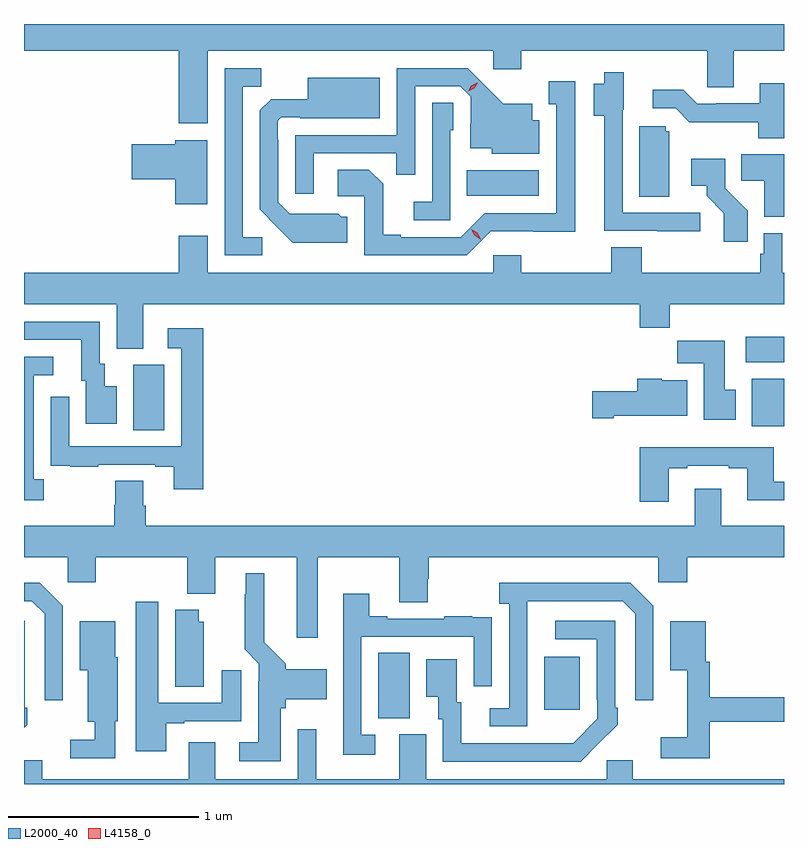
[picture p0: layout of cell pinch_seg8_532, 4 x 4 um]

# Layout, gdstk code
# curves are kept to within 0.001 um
import gdstk
lib = gdstk.Library(unit=1e-6, precision=1e-09)
def R(c, l, rs):  # rectangles x0, y0, x1, y1
    for r in rs: c.add(gdstk.rectangle(r[:2], r[2:], *l))
def P(c, l, *ps):  # polygons
    for p in ps: c.add(gdstk.Polygon(p, *l))
L2000_40 = (2000, 40)
L4158_0 = (4158, 0)

pinch_seg8_532 = lib.new_cell('pinch_seg8_532')
R(pinch_seg8_532, L2000_40, [(148.448,1118.317,148.612,1118.66), (149.321,1118.361,149.509,1118.641), (147.158,1119.832,147.322,1120.176), (150.413,1119.852,150.583,1120.102), (150.381,1120.19,150.583,1120.324), (148.912,1121.066,149.293,1121.2)])
P(pinch_seg8_532, L2000_40, [(147.55,1121.828),(149.052,1121.828),(149.052,1121.733),(149.199,1121.733),(149.199,1121.828),(150.18,1121.828),(150.18,1121.638),(150.319,1121.638),(150.319,1121.828),(150.583,1121.828),(150.583,1121.97),(146.583,1121.97),(146.583,1121.828),(147.398,1121.828),(147.398,1121.448),(147.55,1121.448)],
  [(148.107,1121.289),(148.543,1121.289),(148.543,1121.176),(148.641,1121.176),(148.641,1121.643),(148.878,1121.643),(148.935,1121.586),(148.935,1121.444),(148.931,1121.444),(148.931,1121.315),(149.046,1121.315),(149.046,1121.288),(149.296,1121.288),(149.296,1121.464),(149.257,1121.464),(149.257,1121.551),(149.105,1121.551),(148.918,1121.736),(148.545,1121.736),(148.545,1121.385),(148.011,1121.385),(148.011,1121.076),(148.107,1121.076)],
  [(147.838,1120.848),(147.735,1120.848),(147.735,1121.641),(147.831,1121.641),(147.831,1121.736),(147.639,1121.736),(147.639,1120.752),(147.838,1120.752)],
  [(150.142,1120.977),(149.733,1120.977),(149.733,1121.52),(149.74,1121.52),(149.74,1121.716),(149.636,1121.716),(149.636,1121.656),(149.582,1121.656),(149.582,1121.486),(149.636,1121.486),(149.636,1120.881),(149.917,1120.881),(149.917,1120.879),(150.142,1120.879)],
  [(148.285,1120.956),(148.254,1120.956),(148.238,1120.972),(147.981,1120.971),(147.921,1121.031),(147.921,1121.36),(147.918,1121.36),(147.918,1121.46),(147.936,1121.478),(148.036,1121.478),(148.036,1121.474),(148.456,1121.474),(148.456,1121.686),(148.076,1121.686),(148.076,1121.575),(147.884,1121.575),(147.825,1121.516),(147.825,1120.994),(147.997,1120.82),(148.285,1120.82)],
  [(149.04,1120.878),(149.485,1120.877),(149.485,1121.668),(149.345,1121.668),(149.345,1121.547),(149.384,1121.547),(149.384,1120.974),(149.007,1120.974),(148.881,1120.848),(148.567,1120.848),(148.567,1120.861),(148.473,1120.861),(148.473,1121.128),(148.397,1121.204),(148.233,1121.204),(148.233,1121.064),(148.374,1121.064),(148.374,1120.752),(148.914,1120.752)],
  [(150.583,1121.659),(150.455,1121.659),(150.455,1121.553),(150.226,1121.553),(150.226,1121.55),(150.126,1121.55),(150.053,1121.623),(149.892,1121.623),(149.892,1121.526),(150.012,1121.526),(150.085,1121.453),(150.448,1121.454),(150.448,1121.369),(150.583,1121.369)],
  [(148.827,1121.412),(148.842,1121.412),(148.842,1121.555),(148.731,1121.555),(148.731,1121.035),(148.635,1121.035),(148.635,1120.938),(148.827,1120.938)],
  [(149.98,1121.406),(149.961,1121.406),(149.961,1121.433),(149.822,1121.433),(149.822,1121.062),(149.98,1121.062)],
  [(147.547,1121.359),(147.38,1121.359),(147.38,1121.336),(147.15,1121.336),(147.15,1121.153),(147.38,1121.153),(147.38,1121.022),(147.547,1121.022)],
  [(150.583,1121.284),(150.358,1121.284),(150.358,1121.146),(150.479,1121.146),(150.479,1120.955),(150.583,1120.955)],
  [(150.392,1120.986),(150.273,1121.105),(150.273,1121.26),(150.096,1121.26),(150.096,1121.12),(150.176,1121.12),(150.176,1121.065),(150.267,1120.975),(150.267,1120.824),(150.392,1120.824)],
  [(147.211,1120.496),(149.825,1120.496),(149.825,1120.372),(149.981,1120.372),(149.981,1120.496),(150.583,1120.496),(150.583,1120.66),(150.573,1120.66),(150.573,1120.87),(150.477,1120.87),(150.477,1120.761),(150.457,1120.761),(150.457,1120.66),(149.834,1120.66),(149.834,1120.796),(149.674,1120.796),(149.674,1120.66),(149.199,1120.66),(149.199,1120.753),(149.052,1120.753),(149.052,1120.66),(147.55,1120.66),(147.55,1120.855),(147.398,1120.855),(147.398,1120.66),(146.583,1120.66),(146.583,1120.496),(147.071,1120.496),(147.071,1120.261),(147.211,1120.261)],
  [(147.07,1120.063),(147.007,1120.063),(147.007,1120.182),(146.982,1120.182),(146.982,1120.404),(146.583,1120.404),(146.583,1120.308),(146.885,1120.308),(146.885,1120.092),(146.909,1120.092),(146.909,1119.867),(147.07,1119.867)],
  [(147.527,1120.369),(147.339,1120.369),(147.339,1120.263),(147.411,1120.263),(147.411,1119.747),(146.82,1119.747),(146.82,1120.009),(146.724,1120.009),(146.724,1119.754),(146.725,1119.754),(146.725,1119.645),(146.827,1119.645),(146.827,1119.639),(146.975,1119.639),(146.975,1119.651),(147.275,1119.651),(147.275,1119.639),(147.371,1119.639),(147.371,1119.522),(147.527,1119.522)],
  [(150.328,1120.044),(150.271,1120.044),(150.271,1120.303),(150.022,1120.303),(150.022,1120.184),(150.161,1120.184),(150.161,1119.888),(150.328,1119.888)],
  [(146.686,1119.574),(146.634,1119.574),(146.634,1120.122),(146.737,1120.122),(146.737,1120.218),(146.583,1120.218),(146.583,1119.464),(146.686,1119.464)],
  [(149.686,1119.908),(150.073,1119.908),(150.073,1120.096),(149.94,1120.096),(149.94,1120.102),(149.81,1120.102),(149.81,1120.038),(149.574,1120.038),(149.574,1119.896),(149.686,1119.896)],
  [(149.977,1119.633),(150.073,1119.633),(150.073,1119.645),(150.293,1119.645),(150.293,1119.633),(150.389,1119.633),(150.389,1119.464),(150.583,1119.464),(150.583,1119.561),(150.529,1119.561),(150.529,1119.742),(149.825,1119.742),(149.825,1119.456),(149.977,1119.456)],
  [(148.129,1119.164),(148.559,1119.164),(148.559,1118.926),(148.707,1118.926),(148.707,1119.051),(148.712,1119.051),(148.712,1119.164),(149.922,1119.164),(149.922,1119.033),(150.074,1119.033),(150.074,1119.164),(150.583,1119.164),(150.583,1119.328),(150.253,1119.328),(150.253,1119.523),(150.113,1119.523),(150.113,1119.328),(147.224,1119.328),(147.224,1119.434),(147.211,1119.434),(147.211,1119.566),(147.064,1119.566),(147.064,1119.441),(147.059,1119.441),(147.059,1119.328),(146.583,1119.328),(146.583,1119.164),(146.814,1119.164),(146.814,1119.033),(146.961,1119.033),(146.961,1119.164),(147.442,1119.164),(147.442,1118.972),(147.589,1118.972),(147.589,1119.164),(148.019,1119.164),(148.019,1118.739),(148.129,1118.739)],
  [(147.934,1118.37),(147.96,1118.37),(147.96,1118.417),(148.177,1118.417),(148.177,1118.575),(147.96,1118.575),(147.96,1118.603),(147.847,1118.716),(147.847,1119.079),(147.749,1119.079),(147.749,1118.969),(147.745,1118.969),(147.745,1118.678),(147.819,1118.604),(147.819,1118.51),(147.815,1118.51),(147.815,1118.191),(147.717,1118.191),(147.717,1118.09),(147.934,1118.09)],
  [(149.232,1118.931),(149.733,1118.931),(149.799,1118.865),(149.799,1118.412),(149.895,1118.412),(149.895,1118.907),(149.774,1119.028),(149.085,1119.028),(149.085,1118.918),(149.136,1118.918),(149.136,1118.37),(149.034,1118.37),(149.034,1118.274),(149.232,1118.274)],
  [(146.787,1118.907),(146.666,1119.028),(146.583,1119.028),(146.583,1118.931),(146.625,1118.931),(146.691,1118.865),(146.691,1118.412),(146.787,1118.412)],
  [(148.432,1118.229),(148.359,1118.229),(148.359,1118.745),(148.95,1118.745),(148.95,1118.484),(149.046,1118.484),(149.046,1118.738),(149.045,1118.738),(149.045,1118.847),(148.943,1118.847),(148.943,1118.854),(148.795,1118.854),(148.795,1118.841),(148.495,1118.841),(148.495,1118.854),(148.399,1118.854),(148.399,1118.971),(148.262,1118.971),(148.262,1118.748),(148.263,1118.748),(148.263,1118.124),(148.432,1118.124)],
  [(147.331,1118.289),(147.427,1118.289),(147.427,1118.301),(147.727,1118.301),(147.727,1118.569),(147.623,1118.569),(147.623,1118.397),(147.289,1118.397),(147.289,1118.929),(147.17,1118.929),(147.17,1118.142),(147.331,1118.142)],
  [(147.529,1118.823),(147.502,1118.823),(147.502,1118.887),(147.38,1118.887),(147.38,1118.482),(147.529,1118.482)],
  [(149.603,1118.179),(149.604,1118.178),(149.709,1118.283),(149.709,1118.371),(149.694,1118.371),(149.694,1118.829),(149.379,1118.829),(149.379,1118.733),(149.598,1118.733),(149.598,1118.413),(149.601,1118.413),(149.601,1118.313),(149.473,1118.185),(148.885,1118.184),(148.885,1118.4),(148.861,1118.4),(148.861,1118.626),(148.7,1118.626),(148.7,1118.429),(148.763,1118.429),(148.763,1118.31),(148.788,1118.31),(148.788,1118.088),(149.512,1118.088)],
  [(146.601,1118.283),(146.601,1118.371),(146.586,1118.371),(146.586,1118.829),(146.583,1118.829),(146.583,1118.265)],
  [(147.063,1118.301),(147.076,1118.301),(147.076,1118.637),(147.064,1118.637),(147.064,1118.827),(146.876,1118.827),(146.876,1118.57),(146.918,1118.57),(146.918,1118.297),(146.955,1118.297),(146.955,1118.202),(146.826,1118.202),(146.826,1118.106),(147.063,1118.106)],
  [(150.191,1118.298),(150.583,1118.298),(150.583,1118.426),(150.191,1118.426),(150.191,1118.613),(150.172,1118.613),(150.172,1118.827),(149.984,1118.827),(149.984,1118.57),(150.074,1118.57),(150.074,1118.215),(149.934,1118.215),(149.934,1118.106),(150.191,1118.106)],
  [(150.583,1117.996),(149.788,1117.996),(149.788,1118.094),(149.649,1118.094),(149.649,1117.996),(148.699,1117.996),(148.699,1118.232),(148.559,1118.232),(148.559,1117.996),(148.12,1117.996),(148.12,1118.257),(148.023,1118.257),(148.023,1117.996),(147.589,1117.996),(147.589,1118.191),(147.449,1118.191),(147.449,1117.996),(146.68,1117.996),(146.68,1118.094),(146.583,1118.094),(146.583,1117.97),(150.583,1117.97)])
P(pinch_seg8_532, L4158_0, [(148.985,1120.838),(148.954,1120.857),(148.937,1120.89),(148.937,1120.89),(148.937,1120.89),(148.968,1120.871),(148.986,1120.838),(148.986,1120.838)],
  [(148.921,1121.616),(148.921,1121.616),(148.938,1121.646),(148.969,1121.661),(148.97,1121.661),(148.97,1121.661),(148.952,1121.631),(148.921,1121.616)])

lib.write_gds('pinch_seg8_532.gds')
